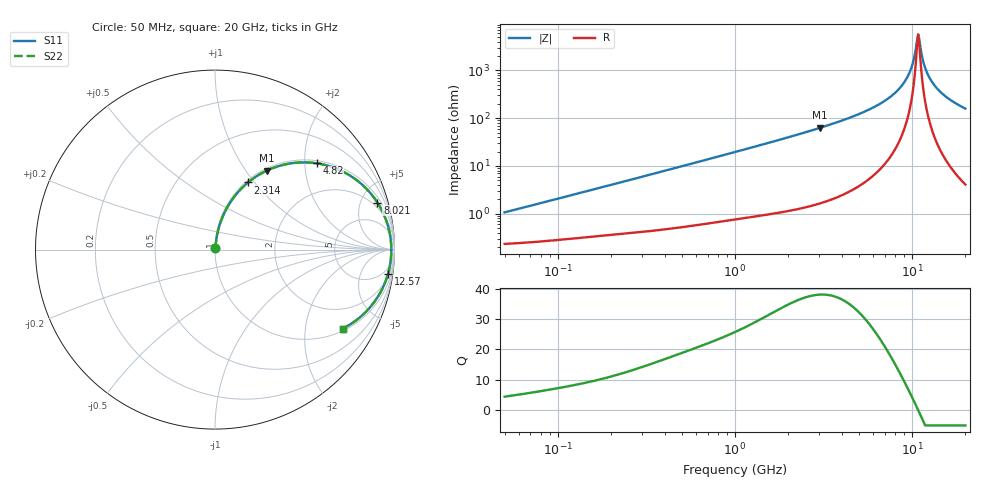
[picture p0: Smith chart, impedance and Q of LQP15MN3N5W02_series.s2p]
!Murata Part Number: LQP15MN3N5W02
!These Parameters are Measured in Series Mode Connection
!  o--[Z]--o
!Port1  Port2
!  o-------o
!Freq. Start=50[MHz] Stop=20[GHz], 401[Steps]
# Hz S RI R 50
!Freq.(Hz) S11(Real) S11(Imag) S21(Real) S21(Imag) S12(Real) S12(Imag) S22(Real) S22(Imag)
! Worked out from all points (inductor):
!   401 points, 50 MHz to 20 GHz, reference 50 ohm
!   read as one part in series: L = 3.31 nH near 51.52 MHz
!   highest Q = 38 at 3.03 GHz (marker M1), where L = 3.3 nH
!   self-resonance near 10.82 GHz
!   S11 on the Smith chart (normalised r, x): 50 MHz: 1.00, +0.02; 2.314 GHz: 1.03, +0.93; 4.82 GHz: 1.07, +2.30; 8.021 GHz: 1.45, +6.75; 12.57 GHz: 3, -14; 20 GHz: 1.08, -3.17
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5e7  0.00245 0.0104  0.9976 -0.0104  0.9976 -0.0104  0.00245 0.0104
1.364002e8  0.00391 0.0275  0.9961 -0.0275  0.9961 -0.0275  0.00391 0.0275
3.721004e8  0.00987 0.0726  0.9901 -0.0726  0.9901 -0.0726  0.00987 0.0726
1e9  0.0436 0.1856  0.9564 -0.1856  0.9564 -0.1856  0.0436 0.1856
2.313601e9  0.1844 0.3743  0.8156 -0.3743  0.8156 -0.3743  0.1844 0.3743
2.728004e9  0.2432 0.416  0.7568 -0.416  0.7568 -0.416  0.2432 0.416
3.029571e9  0.2887 0.4402  0.7113 -0.4402  0.7113 -0.4402  0.2887 0.4402
4.81993e9  0.5668 0.4806  0.4332 -0.4806  0.4332 -0.4806  0.5668 0.4806
6.125241e9  0.7393 0.4203  0.2607 -0.4203  0.2607 -0.4203  0.7393 0.4203
7.442007e9  0.8656 0.3151  0.1344 -0.3151  0.1344 -0.3151  0.8656 0.3151
8.020766e9  0.9052 0.2617  0.0948 -0.2617  0.0948 -0.2617  0.9052 0.2617
8.907419e9  0.9484 0.1772  0.0516 -0.1772  0.0516 -0.1772  0.9484 0.1772
9.600142e9  0.9692 0.1114  0.0308 -0.1114  0.0308 -0.1114  0.9692 0.1114
1.004137e10  0.9771 0.0705  0.0229 -0.0705  0.0229 -0.0705  0.9771 0.0705
1.066139e10  0.9822 0.0149  0.0178 -0.0149  0.0178 -0.0149  0.9822 0.0149
1.082228e10  0.9825 0.000954  0.0175 -0.000954  0.0175 -0.000954  0.9825 0.000954
1.115139e10  0.9819 -0.027  0.0181 0.027  0.0181 0.027  0.9819 -0.027
1.183995e10  0.9759 -0.0825  0.0241 0.0825  0.0241 0.0825  0.9759 -0.0825
1.257102e10  0.9637 -0.1367  0.0363 0.1367  0.0363 0.1367  0.9637 -0.1367
1.354865e10  0.9401 -0.2015  0.0599 0.2015  0.0599 0.2015  0.9401 -0.2015
1.504638e10  0.8933 -0.284  0.1067 0.284  0.1067 0.284  0.8933 -0.284
2e10  0.7106 -0.4408  0.2894 0.4408  0.2894 0.4408  0.7106 -0.4408
